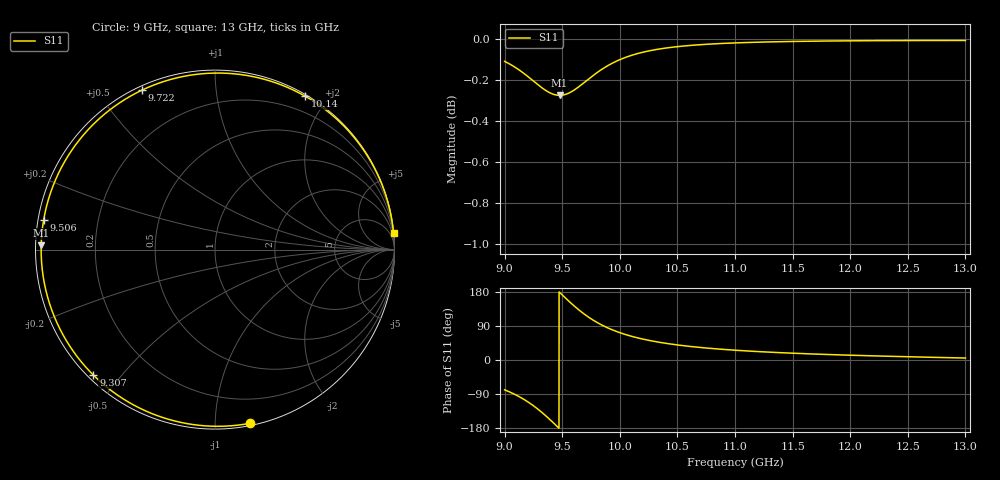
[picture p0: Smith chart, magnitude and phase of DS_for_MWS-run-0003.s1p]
! TOUCHSTONE file generated by CST DESIGN STUDIO
! Date and time: Tue Feb  4 12:22:57 2025
! Project name: C:\Work\MatlabApps\UnitCellOptimizationMatlab\CST\unitcell.cst
! Tree item: Tasks\Sweep1\SPara1\S-Parameters
! Header version: 2024
! Port assignment regex: !\s*Touchstone port\s*([0-9]+)\s*=\s*(CST MWS port|CST DES external port|CST DES block port)\s*(.+)\s* \(\"(.*)\"\)(\s*mode\s*([0-9]+))?.*
! Touchstone port assignment:
! Touchstone port 1 = CST DES external port 1 ("")
# GHz S MA R 50
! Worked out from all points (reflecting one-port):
!   4001 points, 9 GHz to 13 GHz, reference 50 ohm
!   lowest |S11| = -0.3 dB at 9.477 GHz (marker M1), VSWR 62.94, Z = 0.795 + j0.635 ohm
!   phase of S11 starts at -79 deg and turns -276 deg over the sweep
!   S11 on the Smith chart (normalised r, x): 9 GHz: 0.02, -1.22; 9.307 GHz: 0.02, -0.42; 9.506 GHz: 0.02, +0.09; 9.722 GHz: 0.02, +0.64; 10.14 GHz: 0.02, +1.75; 13 GHz: 0, +22
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9  0.9873 -78.7
9.076  0.9847 -88.9
9.174  0.9804 -105.1
9.243  0.9769 -119.1
9.307  0.9736 -134.1
9.352  0.9716 -145.8
9.399  0.9699 -158.8
9.439  0.969 -170.3
9.477  0.9687 178.5
9.5  0.9688 171.8
9.506  0.9689 170.0
9.558  0.97 155.1
9.618  0.9722 138.9
9.669  0.9746 126.3
9.722  0.9772 114.5
9.777  0.9799 103.7
9.839  0.9827 93.1
9.918  0.9857 81.8
10  0.9883 72.1
10.14  0.9914 59.5
10.303  0.9937 48.9
10.5  0.9955 39.7
10.722  0.9967 32.4
11  0.9976 25.8
11.5  0.9984 17.9
12  0.9987 12.6
12.5  0.9989 8.6
13  0.9989 5.2
